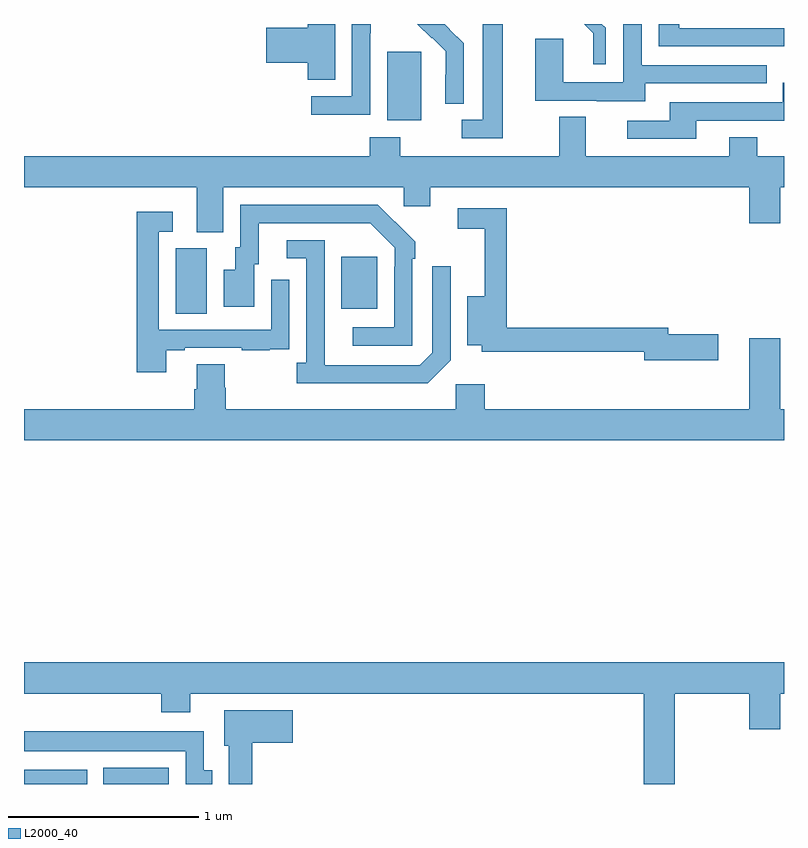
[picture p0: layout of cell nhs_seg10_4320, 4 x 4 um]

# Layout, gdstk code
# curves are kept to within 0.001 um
import gdstk
lib = gdstk.Library(unit=1e-6, precision=1e-09)
def R(c, l, rs):  # rectangles x0, y0, x1, y1
    for r in rs: c.add(gdstk.rectangle(r[:2], r[2:], *l))
def P(c, l, *ps):  # polygons
    for p in ps: c.add(gdstk.Polygon(p, *l))
L2000_40 = (2000, 40)

nhs_seg10_4320 = lib.new_cell('nhs_seg10_4320')
R(nhs_seg10_4320, L2000_40, [(353,1306.5,353.332,1306.576), (353.417,1306.5,353.761,1306.585), (353.798,1308.976,353.962,1309.32), (354.671,1309.001,354.859,1309.276), (354.911,1309.994,355.09,1310.355)])
P(nhs_seg10_4320, L2000_40, [(354.637,1310.5),(354.494,1310.5),(354.494,1310.48),(354.276,1310.48),(354.276,1310.297),(354.494,1310.297),(354.494,1310.206),(354.637,1310.206)],
  [(357,1310.478),(356.449,1310.478),(356.449,1310.5),(356.34,1310.5),(356.34,1310.382),(357,1310.382)],
  [(355.314,1310.398),(355.241,1310.471),(355.242,1310.472),(355.214,1310.5),(355.07,1310.5),(355.146,1310.424),(355.149,1310.427),(355.22,1310.357),(355.22,1310.234),(355.218,1310.234),(355.218,1310.08),(355.314,1310.08)],
  [(356.269,1310.187),(356.909,1310.187),(356.909,1310.283),(356.25,1310.283),(356.25,1310.5),(356.154,1310.5),(356.154,1310.193),(355.837,1310.193),(355.837,1310.422),(355.691,1310.422),(355.691,1310.097),(356.015,1310.097),(356.015,1310.093),(356.269,1310.093)],
  [(355.519,1310.5),(355.415,1310.5),(355.415,1309.995),(355.305,1309.995),(355.305,1309.899),(355.519,1309.899)],
  [(356.061,1310.481),(356.042,1310.5),(355.949,1310.5),(355.997,1310.452),(355.997,1310.289),(356.061,1310.289)],
  [(354.822,1310.452),(354.825,1310.452),(354.825,1310.5),(354.726,1310.5),(354.726,1310.121),(354.513,1310.121),(354.513,1310.023),(354.822,1310.023)],
  [(356.539,1309.992),(357,1309.992),(357,1310.191),(356.994,1310.191),(356.994,1310.088),(356.399,1310.088),(356.399,1309.992),(356.175,1309.992),(356.175,1309.896),(356.539,1309.896)],
  [(353,1309.64),(353.909,1309.64),(353.909,1309.405),(354.049,1309.405),(354.049,1309.64),(354.999,1309.64),(354.999,1309.542),(355.138,1309.542),(355.138,1309.64),(356.816,1309.64),(356.816,1309.452),(356.98,1309.452),(356.98,1309.64),(357,1309.64),(357,1309.804),(356.859,1309.804),(356.859,1309.903),(356.711,1309.903),(356.711,1309.804),(355.957,1309.804),(355.957,1310.012),(355.817,1310.012),(355.817,1309.804),(354.981,1309.804),(354.981,1309.903),(354.821,1309.903),(354.821,1309.804),(353,1309.804)],
  [(355.044,1309.265),(355.059,1309.265),(355.059,1309.353),(354.862,1309.548),(354.138,1309.548),(354.138,1309.326),(354.113,1309.326),(354.113,1309.207),(354.05,1309.207),(354.05,1309.011),(354.211,1309.011),(354.211,1309.236),(354.235,1309.236),(354.235,1309.452),(354.823,1309.452),(354.951,1309.323),(354.951,1309.223),(354.948,1309.223),(354.948,1308.903),(354.729,1308.903),(354.729,1308.807),(355.044,1308.807)],
  [(356.653,1308.866),(356.392,1308.866),(356.392,1308.902),(355.541,1308.902),(355.541,1309.53),(355.284,1309.53),(355.284,1309.422),(355.424,1309.422),(355.424,1309.066),(355.334,1309.066),(355.334,1308.809),(355.41,1308.809),(355.41,1308.774),(356.264,1308.774),(356.264,1308.731),(356.653,1308.731)],
  [(353.749,1308.783),(353.845,1308.783),(353.845,1308.795),(354.145,1308.795),(354.145,1308.783),(354.293,1308.783),(354.293,1308.789),(354.395,1308.789),(354.395,1308.898),(354.396,1308.898),(354.396,1309.153),(354.3,1309.153),(354.3,1308.891),(353.709,1308.891),(353.709,1309.407),(353.782,1309.407),(353.782,1309.513),(353.593,1309.513),(353.593,1308.666),(353.749,1308.666)],
  [(355.245,1308.729),(355.245,1309.225),(355.149,1309.225),(355.149,1308.771),(355.083,1308.705),(354.583,1308.705),(354.582,1309.362),(354.384,1309.362),(354.384,1309.266),(354.486,1309.266),(354.486,1308.718),(354.435,1308.718),(354.435,1308.608),(355.124,1308.608)],
  [(357,1308.472),(356.98,1308.472),(356.98,1308.847),(356.816,1308.847),(356.816,1308.472),(355.424,1308.472),(355.424,1308.604),(355.272,1308.604),(355.272,1308.472),(354.062,1308.472),(354.062,1308.585),(354.057,1308.585),(354.057,1308.71),(353.909,1308.71),(353.909,1308.578),(353.897,1308.578),(353.897,1308.472),(353,1308.472),(353,1308.308),(357,1308.308)],
  [(356.425,1306.976),(356.816,1306.976),(356.816,1306.788),(356.98,1306.788),(356.98,1306.976),(357,1306.976),(357,1307.14),(353,1307.14),(353,1306.976),(353.723,1306.976),(353.723,1306.877),(353.875,1306.877),(353.875,1306.976),(356.261,1306.976),(356.261,1306.5),(356.425,1306.5)],
  [(354.2,1306.718),(354.415,1306.718),(354.415,1306.888),(354.053,1306.888),(354.053,1306.701),(354.077,1306.701),(354.077,1306.5),(354.2,1306.5)],
  [(353.992,1306.572),(353.947,1306.572),(353.947,1306.777),(353,1306.777),(353,1306.673),(353.85,1306.673),(353.85,1306.5),(353.992,1306.5)])

lib.write_gds('nhs_seg10_4320.gds')
